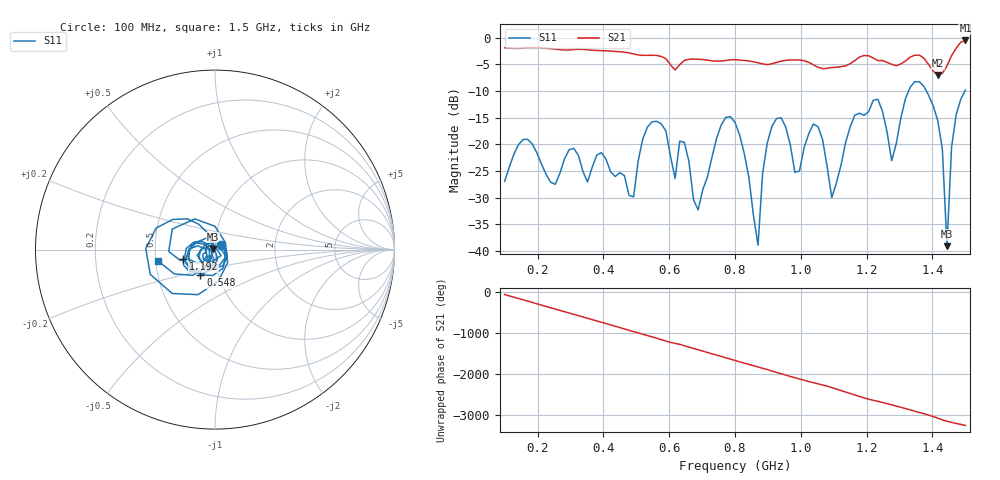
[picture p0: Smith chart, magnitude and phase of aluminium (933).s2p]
! NanoVNA-App
! Date: 2025-09-25 15:02:33
! Start: 100MHz Stop: 1,5GHz Points: 101
! S-Parameter data: F S11 S21 S12 S22
# Hz S RI R 50
!  Frequency  S11_Real  S11_Imag  S21_Real  S21_Imag  S12_Real  S12_Imag  S22_Real  S22_Imag
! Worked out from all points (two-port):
!   101 points, 100 MHz to 1.5 GHz, reference 50 ohm
!   highest |S21| = -0.54 dB at 1.5 GHz (marker M1); lowest = -7.1 dB at 1.416 GHz (marker M2)
!   |S21| within 3 dB of the highest: start of sweep to 576.1 MHz; 1.457 GHz to end of sweep (the widest 2 of 4)
!   lowest |S11| = -39.1 dB at 1.444 GHz (marker M3), VSWR 1.02, Z = 48.9 + j0.272 ohm
!   |S11| at or under -10 dB: start of sweep to 1.328 GHz; 1.381 GHz to 1.499 GHz (117.4 MHz wide, 8.16 % of centre)
!   S12 and S22 are empty: the file has one direction only
!   S11 on the Smith chart (normalised r, x): 100 MHz: 1.07, +0.06; 548 MHz: 0.82, -0.24; 1.192 GHz: 0.69, -0.08; 1.5 GHz: 0.52, -0.07
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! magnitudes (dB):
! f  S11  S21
! 100 MHz  -27.0  -1.9
! 156 MHz  -19.1  -2.0
! 338 MHz  -25.1  -2.2
! 492 MHz  -29.9  -3.1
! 548 MHz  -15.8  -3.3
! 576 MHz  -16.2  -3.5
! 646 MHz  -19.6  -4.3
! 688 MHz  -32.3  -4.1
! 800 MHz  -15.9  -4.1
! 870 MHz  -38.9  -4.7
! 912 MHz  -16.7  -4.9
! 982 MHz  -25.3  -4.2
! 1.038 GHz  -16.2  -5.1
! 1.094 GHz  -30.0  -5.6
! 1.192 GHz  -14.6  -3.4
! 1.234 GHz  -11.6  -4.3
! 1.276 GHz  -23.1  -5.0
! 1.346 GHz  -8.3  -3.3
! 1.416 GHz  -15.5  -7.1
! 1.444 GHz  -39.1  -5.3
! 1.458 GHz  -20.5  -3.4
! 1.5 GHz  -9.9  -0.5
